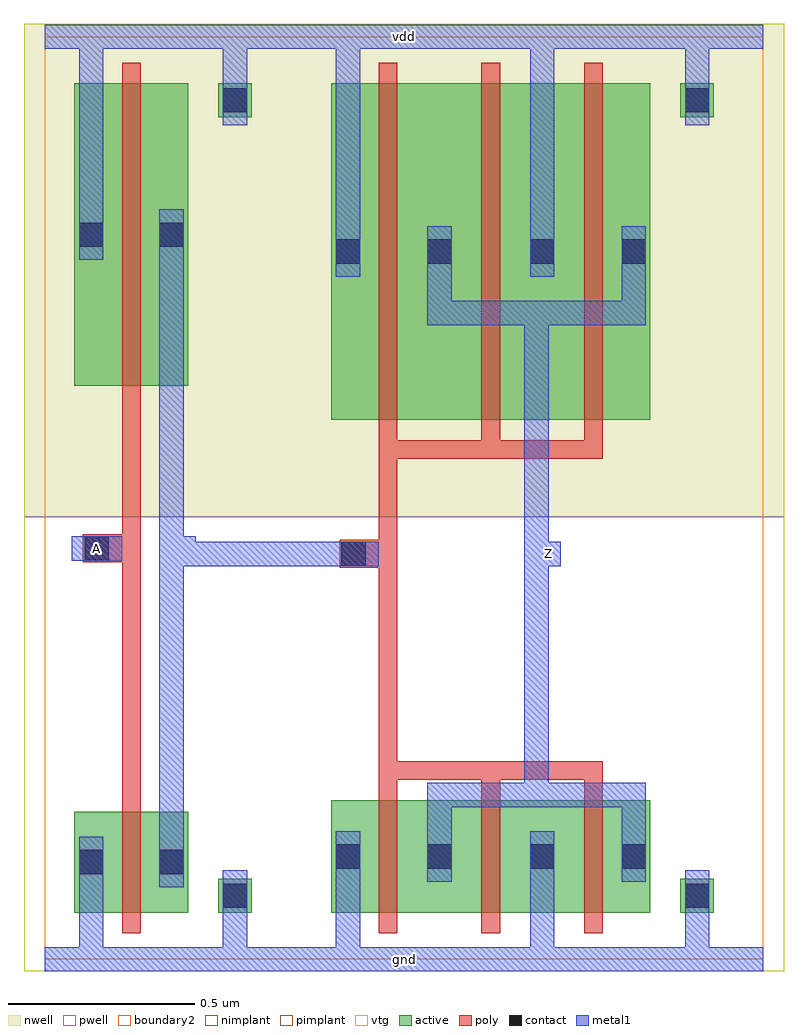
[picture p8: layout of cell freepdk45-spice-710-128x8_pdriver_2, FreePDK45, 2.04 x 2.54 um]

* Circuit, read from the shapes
.subckt freepdk45-spice-710-128x8_pdriver_2 A Z gnd vdd
M1 freepdk45-spice-710-128x8_pinv_12_1/A A gnd gnd nfet w=0.27u l=0.05u
M2 Z freepdk45-spice-710-128x8_pinv_12_1/A gnd gnd nfet w=0.3u l=0.05u m=3
M3 freepdk45-spice-710-128x8_pinv_12_1/A A vdd vdd pfet w=0.81u l=0.05u
M4 Z freepdk45-spice-710-128x8_pinv_12_1/A vdd vdd pfet w=0.9u l=0.05u m=3
.ends

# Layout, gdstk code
import gdstk
lib = gdstk.Library(unit=1e-6, precision=5e-10)
def R(c, l, rs):  # rectangles x0, y0, x1, y1
    for r in rs: c.add(gdstk.rectangle(r[:2], r[2:], *l))
def A(c, l, x, y, w, h, nx, ny, dx, dy):  # array of equal rectangles
    R(c, l, [(x+i*dx, y+j*dy, x+i*dx+w, y+j*dy+h) for i in range(nx) for j in range(ny)])
active = (1, 0)
pwell = (2, 0)
nwell = (3, 0)
nimplant = (4, 0)
pimplant = (5, 0)
vtg = (6, 0)
poly = (9, 0)
contact = (10, 0)
metal1 = (11, 0)
boundary2 = (239, 0)

freepdk45_spice_710_128x = lib.new_cell('freepdk45-spice-710-128x8_contact_11')
R(freepdk45_spice_710_128x, active, [(0,0.0225,0.09,0.1125)])
R(freepdk45_spice_710_128x, nwell, [(-0.055,-0.0325,0.145,0.1675)])
R(freepdk45_spice_710_128x, pimplant, [(0,0.0225,0.09,0.1125)])
R(freepdk45_spice_710_128x, contact, [(0.0125,0.035,0.0775,0.1)])
R(freepdk45_spice_710_128x, metal1, [(0.0125,0,0.0775,0.135)])
R(freepdk45_spice_710_128x, boundary2, [(-0.055,-0.0325,0.145,0.1675)])

c_freepdk45_spice_710_128x = lib.new_cell('freepdk45-spice-710-128x8_pmos_m1_w0_810_sm1_dm1_da_p')
R(c_freepdk45_spice_710_128x, active, [(0,0,0.305,0.81)])
R(c_freepdk45_spice_710_128x, nwell, [(-0.08,-0.08,0.385,0.89)])
R(c_freepdk45_spice_710_128x, pimplant, [(0,0,0.305,0.81)])
R(c_freepdk45_spice_710_128x, vtg, [(-0.08,-0.08,0.385,0.89)])
R(c_freepdk45_spice_710_128x, poly, [(0.1275,-0.055,0.1775,0.865), (0.1275,-0.055,0.1775,0.865)])
R(c_freepdk45_spice_710_128x, metal1, [(0.0125,0.3375,0.0775,0.4725), (0.2275,0.3375,0.2925,0.4725)])
R(c_freepdk45_spice_710_128x, boundary2, [(-0.08,-0.08,0.385,0.89)])
c_freepdk45_spice_710_128x.add(gdstk.Reference(freepdk45_spice_710_128x, (0,0.3375)))
c_freepdk45_spice_710_128x.add(gdstk.Reference(freepdk45_spice_710_128x, (0.215,0.3375)))
c_freepdk45_spice_710_128x.add(gdstk.Label('G', (0.1525,0.405), layer=9, texttype=0))
c_freepdk45_spice_710_128x.add(gdstk.Label('S', (0.045,0.405), layer=11, texttype=0))
c_freepdk45_spice_710_128x.add(gdstk.Label('D', (0.26,0.405), layer=11, texttype=0))

c_freepdk45_spice_710_128x_ = lib.new_cell('freepdk45-spice-710-128x8_contact_10')
R(c_freepdk45_spice_710_128x_, active, [(0,0.0225,0.09,0.1125)])
R(c_freepdk45_spice_710_128x_, pwell, [(-0.055,-0.0325,0.145,0.1675)])
R(c_freepdk45_spice_710_128x_, nimplant, [(0,0.0225,0.09,0.1125)])
R(c_freepdk45_spice_710_128x_, contact, [(0.0125,0.035,0.0775,0.1)])
R(c_freepdk45_spice_710_128x_, metal1, [(0.0125,0,0.0775,0.135)])
R(c_freepdk45_spice_710_128x_, boundary2, [(-0.055,-0.0325,0.145,0.1675)])

c_freepdk45_spice_710_128x__ = lib.new_cell('freepdk45-spice-710-128x8_nmos_m1_w0_270_sm1_dm1_da_p')
R(c_freepdk45_spice_710_128x__, active, [(0,0,0.305,0.27)])
R(c_freepdk45_spice_710_128x__, pwell, [(-0.08,-0.08,0.385,0.35)])
R(c_freepdk45_spice_710_128x__, nimplant, [(0,0,0.305,0.27)])
R(c_freepdk45_spice_710_128x__, vtg, [(-0.08,-0.08,0.385,0.35)])
R(c_freepdk45_spice_710_128x__, poly, [(0.1275,-0.055,0.1775,0.325), (0.1275,-0.055,0.1775,0.325)])
R(c_freepdk45_spice_710_128x__, metal1, [(0.0125,0.0675,0.0775,0.2025), (0.2275,0.0675,0.2925,0.2025)])
R(c_freepdk45_spice_710_128x__, boundary2, [(-0.08,-0.08,0.385,0.35)])
c_freepdk45_spice_710_128x__.add(gdstk.Reference(c_freepdk45_spice_710_128x_, (0,0.0675)))
c_freepdk45_spice_710_128x__.add(gdstk.Reference(c_freepdk45_spice_710_128x_, (0.215,0.0675)))
c_freepdk45_spice_710_128x__.add(gdstk.Label('G', (0.1525,0.135), layer=9, texttype=0))
c_freepdk45_spice_710_128x__.add(gdstk.Label('S', (0.045,0.135), layer=11, texttype=0))
c_freepdk45_spice_710_128x__.add(gdstk.Label('D', (0.26,0.135), layer=11, texttype=0))

c_freepdk45_spice_710_128x___ = lib.new_cell('freepdk45-spice-710-128x8_contact_12')
R(c_freepdk45_spice_710_128x___, active, [(0,0.0225,0.09,0.1125)])
R(c_freepdk45_spice_710_128x___, nwell, [(-0.055,-0.0325,0.145,0.1675)])
R(c_freepdk45_spice_710_128x___, nimplant, [(0,0.0225,0.09,0.1125)])
R(c_freepdk45_spice_710_128x___, contact, [(0.0125,0.035,0.0775,0.1)])
R(c_freepdk45_spice_710_128x___, metal1, [(0.0125,0,0.0775,0.135)])
R(c_freepdk45_spice_710_128x___, boundary2, [(-0.055,-0.0325,0.145,0.1675)])

c_freepdk45_spice_710_128x____ = lib.new_cell('freepdk45-spice-710-128x8_contact_13')
R(c_freepdk45_spice_710_128x____, active, [(0,0.0225,0.09,0.1125)])
R(c_freepdk45_spice_710_128x____, pwell, [(-0.055,-0.0325,0.145,0.1675)])
R(c_freepdk45_spice_710_128x____, pimplant, [(0,0.0225,0.09,0.1125)])
R(c_freepdk45_spice_710_128x____, contact, [(0.0125,0.035,0.0775,0.1)])
R(c_freepdk45_spice_710_128x____, metal1, [(0.0125,0,0.0775,0.135)])
R(c_freepdk45_spice_710_128x____, boundary2, [(-0.055,-0.0325,0.145,0.1675)])

c_freepdk45_spice_710_128x_____ = lib.new_cell('freepdk45-spice-710-128x8_contact_14')
R(c_freepdk45_spice_710_128x_____, poly, [(0.03,0,0.105,0.075)])
R(c_freepdk45_spice_710_128x_____, contact, [(0.035,0.005,0.1,0.07)])
R(c_freepdk45_spice_710_128x_____, metal1, [(0,0.005,0.135,0.07)])
R(c_freepdk45_spice_710_128x_____, boundary2, [(0,0,0.135,0.075)])

c_freepdk45_spice_710_128x______ = lib.new_cell('freepdk45-spice-710-128x8_pinv_11')
R(c_freepdk45_spice_710_128x______, pwell, [(-0.055,-0.0325,0.7425,1.185)])
R(c_freepdk45_spice_710_128x______, nwell, [(-0.055,1.185,0.7425,2.505)])
R(c_freepdk45_spice_710_128x______, vtg, [(-0.055,-0.0325,0.7425,1.185), (-0.055,1.185,0.7425,2.505)])
R(c_freepdk45_spice_710_128x______, poly, [(0.2075,0.45,0.2575,1.48), (0.14,1.0625,0.2075,1.1375)])
R(c_freepdk45_spice_710_128x______, metal1, [(0,-0.0325,0.6875,0.0325), (0.0925,-0.0325,0.1575,0.1925), (0.4775,0,0.5425,0.17), (0.3075,0.1925,0.3725,2.0075), (0.0725,1.0675,0.2075,1.1325), (0.34,1.0675,0.405,1.1325), (0.0925,1.8725,0.1575,2.5025), (0.4775,2.3,0.5425,2.47), (0,2.4375,0.6875,2.5025)])
R(c_freepdk45_spice_710_128x______, boundary2, [(0,0,0.6875,2.47), (0,0,0.6875,2.47)])
c_freepdk45_spice_710_128x______.add(gdstk.Reference(c_freepdk45_spice_710_128x, (0.08,1.535)))
c_freepdk45_spice_710_128x______.add(gdstk.Reference(c_freepdk45_spice_710_128x__, (0.08,0.125)))
c_freepdk45_spice_710_128x______.add(gdstk.Reference(c_freepdk45_spice_710_128x___, (0.465,2.2325)))
c_freepdk45_spice_710_128x______.add(gdstk.Reference(c_freepdk45_spice_710_128x____, (0.465,0.1025)))
c_freepdk45_spice_710_128x______.add(gdstk.Reference(c_freepdk45_spice_710_128x_____, (0.0725,1.0625)))
c_freepdk45_spice_710_128x______.add(gdstk.Label('A', (0.14,1.1), layer=11, texttype=0))
c_freepdk45_spice_710_128x______.add(gdstk.Label('Z', (0.3725,1.1), layer=11, texttype=0))
c_freepdk45_spice_710_128x______.add(gdstk.Label('gnd', (0.344,0), layer=11, texttype=0))
c_freepdk45_spice_710_128x______.add(gdstk.Label('vdd', (0.344,2.47), layer=11, texttype=0))

c_freepdk45_spice_710_128x_______ = lib.new_cell('freepdk45-spice-710-128x8_pmos_m3_w0_900_sm1_dm1_da_p')
R(c_freepdk45_spice_710_128x_______, active, [(0,0,0.855,0.9)])
R(c_freepdk45_spice_710_128x_______, nwell, [(-0.08,-0.08,0.935,0.98)])
R(c_freepdk45_spice_710_128x_______, pimplant, [(0,0,0.855,0.9)])
R(c_freepdk45_spice_710_128x_______, vtg, [(-0.08,-0.08,0.935,0.98)])
A(c_freepdk45_spice_710_128x_______, poly, 0.1275, -0.055, 0.05, 1.01, 3, 1, 0.275, 0)
R(c_freepdk45_spice_710_128x_______, poly, [(0.1275,-0.105,0.7275,-0.055)])
R(c_freepdk45_spice_710_128x_______, metal1, [(0.2575,0.2525,0.8425,0.3175), (0.2575,0.285,0.3225,0.45), (0.7775,0.285,0.8425,0.45), (0.0125,0.3825,0.0775,0.5175), (0.5325,0.3825,0.5975,0.5175)])
R(c_freepdk45_spice_710_128x_______, boundary2, [(-0.08,-0.105,0.935,0.98)])
c_freepdk45_spice_710_128x_______.add(gdstk.Reference(freepdk45_spice_710_128x, (0,0.3825)))
c_freepdk45_spice_710_128x_______.add(gdstk.Reference(freepdk45_spice_710_128x, (0.245,0.3825)))
c_freepdk45_spice_710_128x_______.add(gdstk.Reference(freepdk45_spice_710_128x, (0.52,0.3825)))
c_freepdk45_spice_710_128x_______.add(gdstk.Reference(freepdk45_spice_710_128x, (0.765,0.3825)))
c_freepdk45_spice_710_128x_______.add(gdstk.Label('G', (0.4275,-0.08), layer=9, texttype=0))
c_freepdk45_spice_710_128x_______.add(gdstk.Label('S', (0.565,0.45), layer=11, texttype=0))
c_freepdk45_spice_710_128x_______.add(gdstk.Label('S', (0.045,0.45), layer=11, texttype=0))
c_freepdk45_spice_710_128x_______.add(gdstk.Label('D', (0.55,0.285), layer=11, texttype=0))

c_freepdk45_spice_710_128x________ = lib.new_cell('freepdk45-spice-710-128x8_nmos_m3_w0_300_sm1_dm1_da_p')
R(c_freepdk45_spice_710_128x________, active, [(0,0,0.855,0.3)])
R(c_freepdk45_spice_710_128x________, pwell, [(-0.08,-0.08,0.935,0.38)])
R(c_freepdk45_spice_710_128x________, nimplant, [(0,0,0.855,0.3)])
R(c_freepdk45_spice_710_128x________, vtg, [(-0.08,-0.08,0.935,0.38)])
A(c_freepdk45_spice_710_128x________, poly, 0.1275, -0.055, 0.05, 0.41, 3, 1, 0.275, 0)
R(c_freepdk45_spice_710_128x________, poly, [(0.1275,0.355,0.7275,0.405)])
R(c_freepdk45_spice_710_128x________, metal1, [(0.0125,0.0825,0.0775,0.2175), (0.5325,0.0825,0.5975,0.2175), (0.2575,0.15,0.3225,0.315), (0.7775,0.15,0.8425,0.315), (0.2575,0.2825,0.8425,0.3475)])
R(c_freepdk45_spice_710_128x________, boundary2, [(-0.08,-0.08,0.935,0.405)])
c_freepdk45_spice_710_128x________.add(gdstk.Reference(c_freepdk45_spice_710_128x_, (0,0.0825)))
c_freepdk45_spice_710_128x________.add(gdstk.Reference(c_freepdk45_spice_710_128x_, (0.245,0.0825)))
c_freepdk45_spice_710_128x________.add(gdstk.Reference(c_freepdk45_spice_710_128x_, (0.52,0.0825)))
c_freepdk45_spice_710_128x________.add(gdstk.Reference(c_freepdk45_spice_710_128x_, (0.765,0.0825)))
c_freepdk45_spice_710_128x________.add(gdstk.Label('G', (0.4275,0.38), layer=9, texttype=0))
c_freepdk45_spice_710_128x________.add(gdstk.Label('S', (0.565,0.15), layer=11, texttype=0))
c_freepdk45_spice_710_128x________.add(gdstk.Label('S', (0.045,0.15), layer=11, texttype=0))
c_freepdk45_spice_710_128x________.add(gdstk.Label('D', (0.55,0.315), layer=11, texttype=0))

c_freepdk45_spice_710_128x_________ = lib.new_cell('freepdk45-spice-710-128x8_pinv_12')
R(c_freepdk45_spice_710_128x_________, pwell, [(-0.055,-0.0325,1.2925,1.185)])
R(c_freepdk45_spice_710_128x_________, nwell, [(-0.055,1.185,1.2925,2.505)])
R(c_freepdk45_spice_710_128x_________, vtg, [(-0.055,-0.0325,1.2925,1.185), (-0.055,1.185,1.2925,2.505)])
R(c_freepdk45_spice_710_128x_________, poly, [(0.2075,0.53,0.2575,1.34), (0.14,1.0475,0.2075,1.1225)])
R(c_freepdk45_spice_710_128x_________, metal1, [(0,-0.0325,1.2375,0.0325), (0.0925,-0.0325,0.1575,0.2075), (0.6125,-0.0325,0.6775,0.2075), (1.0275,0,1.0925,0.17), (0.5975,0.4075,0.6625,1.7625), (0.0725,1.0525,0.2075,1.1175), (0.63,1.0525,0.695,1.1175), (0.0925,1.8275,0.1575,2.5025), (0.6125,1.8275,0.6775,2.5025), (1.0275,2.3,1.0925,2.47), (0,2.4375,1.2375,2.5025)])
R(c_freepdk45_spice_710_128x_________, boundary2, [(0,0,1.2375,2.47), (0,0,1.2375,2.47)])
c_freepdk45_spice_710_128x_________.add(gdstk.Reference(c_freepdk45_spice_710_128x_______, (0.08,1.445)))
c_freepdk45_spice_710_128x_________.add(gdstk.Reference(c_freepdk45_spice_710_128x________, (0.08,0.125)))
c_freepdk45_spice_710_128x_________.add(gdstk.Reference(c_freepdk45_spice_710_128x___, (1.015,2.2325)))
c_freepdk45_spice_710_128x_________.add(gdstk.Reference(c_freepdk45_spice_710_128x____, (1.015,0.1025)))
c_freepdk45_spice_710_128x_________.add(gdstk.Reference(c_freepdk45_spice_710_128x_____, (0.0725,1.0475)))
c_freepdk45_spice_710_128x_________.add(gdstk.Label('A', (0.14,1.085), layer=11, texttype=0))
c_freepdk45_spice_710_128x_________.add(gdstk.Label('Z', (0.6625,1.085), layer=11, texttype=0))
c_freepdk45_spice_710_128x_________.add(gdstk.Label('gnd', (0.619,0), layer=11, texttype=0))
c_freepdk45_spice_710_128x_________.add(gdstk.Label('vdd', (0.619,2.47), layer=11, texttype=0))

c_freepdk45_spice_710_128x__________ = lib.new_cell('freepdk45-spice-710-128x8_pdriver_2')
R(c_freepdk45_spice_710_128x__________, pwell, [(-0.055,-0.0325,1.98,1.185)])
R(c_freepdk45_spice_710_128x__________, nwell, [(-0.055,1.185,1.98,2.505)])
R(c_freepdk45_spice_710_128x__________, vtg, [(-0.055,-0.0325,1.98,1.185), (-0.055,1.185,1.98,2.505)])
R(c_freepdk45_spice_710_128x__________, metal1, [(0,-0.0325,1.925,0.0325), (0.34,1.0525,0.405,1.1175), (0.3725,1.0525,0.8275,1.1175), (1.3175,1.0525,1.3825,1.1175), (0.0725,1.0675,0.2075,1.1325), (0.34,1.085,0.405,1.1), (0,2.4375,1.925,2.5025)])
R(c_freepdk45_spice_710_128x__________, boundary2, [(0,0,1.925,2.47), (0,0,1.925,2.47)])
c_freepdk45_spice_710_128x__________.add(gdstk.Reference(c_freepdk45_spice_710_128x______, (0,0)))
c_freepdk45_spice_710_128x__________.add(gdstk.Reference(c_freepdk45_spice_710_128x_________, (0.6875,0)))
c_freepdk45_spice_710_128x__________.add(gdstk.Label('Z', (1.35,1.085), layer=11, texttype=0))
c_freepdk45_spice_710_128x__________.add(gdstk.Label('A', (0.14,1.1), layer=11, texttype=0))
c_freepdk45_spice_710_128x__________.add(gdstk.Label('gnd', (0.9625,0), layer=11, texttype=0))
c_freepdk45_spice_710_128x__________.add(gdstk.Label('vdd', (0.9625,2.47), layer=11, texttype=0))

lib.write_gds('freepdk45-spice-710-128x8_pdriver_2.gds')
